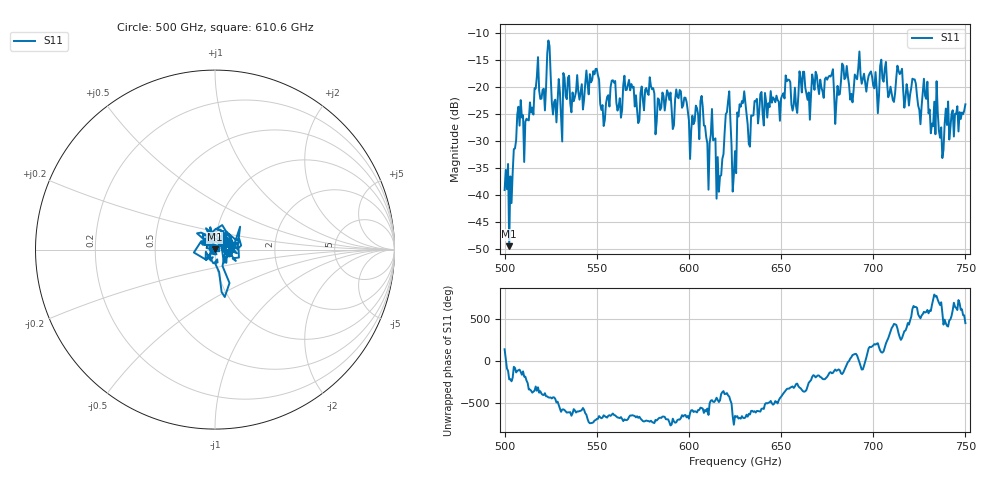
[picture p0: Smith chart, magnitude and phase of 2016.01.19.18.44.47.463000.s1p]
!Created with skrf (http://scikit-rf.org).
# GHz S RI R 50.0
!freq ReS11 ImS11
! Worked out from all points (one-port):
!   401 points, 500 GHz to 750 GHz, reference 50 ohm
!   lowest |S11| = -49.4 dB at 502.5 GHz (marker M1), VSWR 1.01, Z = 49.8 + j0.229 ohm
!   |S11| at or under -10 dB: start of sweep to end of sweep
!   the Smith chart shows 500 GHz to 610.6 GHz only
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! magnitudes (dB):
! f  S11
! 500 GHz  -39.0
! 502.5 GHz  -49.4
! 507.5 GHz  -23.6
! 511.9 GHz  -25.8
! 517.5 GHz  -18.0
! 520.6 GHz  -20.5
! 523.8 GHz  -11.4
! 526.9 GHz  -22.7
! 531.2 GHz  -30.0
! 549.4 GHz  -16.6
! 553.1 GHz  -23.3
! 558.8 GHz  -18.7
! 562.5 GHz  -22.1
! 593.8 GHz  -21.8
! 601.2 GHz  -27.9
! 607.5 GHz  -23.6
! 616.2 GHz  -39.3
! 621.2 GHz  -22.6
! 625 GHz  -31.8
! 628.8 GHz  -22.6
! 633.1 GHz  -31.0
! 656.2 GHz  -24.3
! 687.5 GHz  -22.3
! 714.4 GHz  -17.6
! 718.8 GHz  -20.9
! 728.1 GHz  -21.6
! 736.9 GHz  -27.4
! 750 GHz  -23.2
